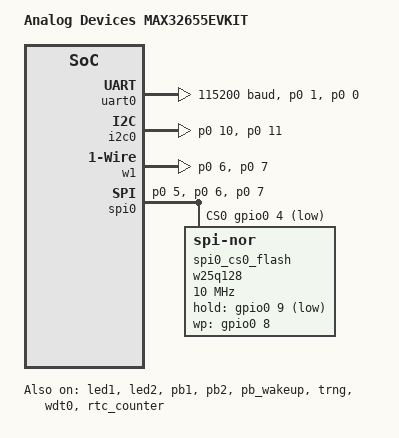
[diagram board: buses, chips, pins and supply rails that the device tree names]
/*
 * Copyright (c) 2023-2025 Analog Devices, Inc.
 *
 * SPDX-License-Identifier: Apache-2.0
 */

/dts-v1/;

#include <adi/max32/max32655-m4.dtsi>
#include "max32655evkit.dtsi"

/ {
	model = "Analog Devices MAX32655EVKIT";
	compatible = "adi,max32655evkit";

	chosen {
		zephyr,console = &uart0;
		zephyr,shell-uart = &uart0;
		zephyr,sram = &m4_sram;
		zephyr,flash = &flash0;
		zephyr,code-partition = &m4_partition;
		zephyr,code-rv32-partition = &rv32_partition;
	};
};

&cpu1 {
	pinctrl-0 = <&rv_tck_p1_0 &rv_tms_p1_1 &rv_tdi_p1_2 &rv_tdo_p1_3>;
	pinctrl-names = "default";
};

&led1 {
	status = "okay";
};

&led2 {
	status = "okay";
};

&pb1 {
	status = "okay";
};

&pb2 {
	status = "okay";
};

&pb_wakeup {
	status = "okay";
};

&uart0 {
	pinctrl-0 = <&uart0a_tx_p0_1 &uart0a_rx_p0_0>;
	status = "okay";
	pinctrl-names = "default";
	current-speed = <115200>;
	data-bits = <8>;
	parity = "none";
};

/*
 * ERTCO is required for counter RTC
 */
&clk_ertco {
	status = "okay";
};

&gpio0 {
	status = "okay";
};

&gpio1 {
	status = "okay";
};

&gpio2 {
	status = "okay";
};

&gpio3 {
	status = "okay";
};

&trng {
	status = "okay";
};

&i2c0 {
	status = "okay";
	pinctrl-0 = <&i2c0_scl_p0_10 &i2c0_sda_p0_11>;
	pinctrl-names = "default";
};

&dma0 {
	status = "okay";
};

&wdt0 {
	status = "okay";
};

&w1 {
	pinctrl-0 = <&owm_io_p0_6 &owm_pe_p0_7>;
	pinctrl-names = "default";
};

&rtc_counter {
	status = "okay";
};

&spi0_mosi_p0_5 {
	power-source = <MAX32_VSEL_VDDIOH>;
};

&spi0_miso_p0_6 {
	power-source = <MAX32_VSEL_VDDIOH>;
};

&spi0_sck_p0_7 {
	power-source = <MAX32_VSEL_VDDIOH>;
};

&spi0 {
	pinctrl-0 = <&spi0_mosi_p0_5 &spi0_miso_p0_6 &spi0_sck_p0_7>;
	pinctrl-names = "default";
	cs-gpios = <&gpio0 4 (GPIO_ACTIVE_LOW | MAX32_GPIO_VSEL_VDDIOH)>;
	status = "okay";

	spi0_cs0_flash: w25q128@0 {
		compatible = "jedec,spi-nor";
		status = "disabled";
		/* 134217728 bits = 16 Mbytes */
		size = <0x8000000>;
		reg = <0>;
		spi-max-frequency = <10000000>;
		jedec-id = [ef 40 18];
		hold-gpios = <&gpio0 9 (GPIO_ACTIVE_LOW | MAX32_GPIO_VSEL_VDDIOH)>;
		wp-gpios = <&gpio0 8 (GPIO_ACTIVE_HIGH | MAX32_GPIO_VSEL_VDDIOH)>;
		status = "okay";
	};
};

&spi0_cs0_flash {
	status = "okay";
};
